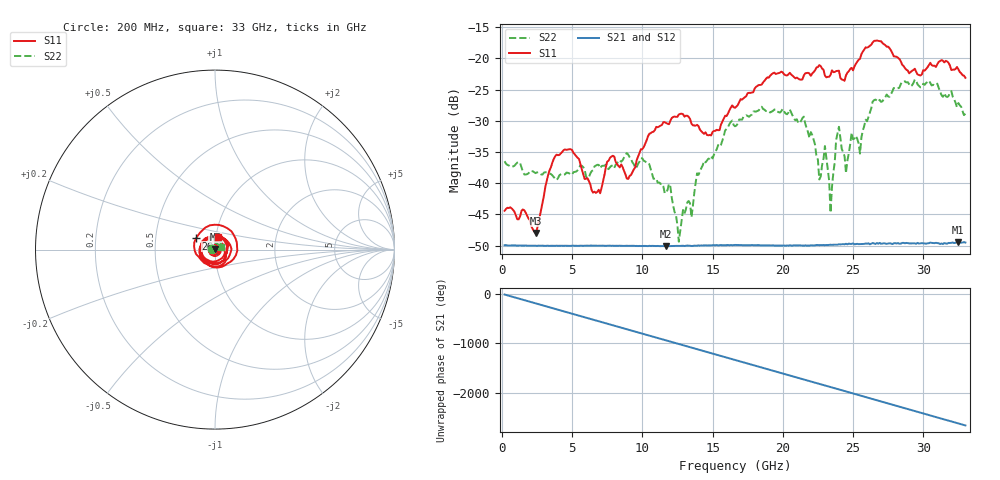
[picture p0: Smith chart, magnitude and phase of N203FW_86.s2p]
# GHZ S RI R 50
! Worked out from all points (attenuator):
!   329 points, 200 MHz to 33 GHz, reference 50 ohm
!   highest |S21| = -49.45 dB at 32.5 GHz (marker M1); lowest = -50.1 dB at 11.7 GHz (marker M2)
!   lowest |S11| = -48.0 dB at 2.4 GHz (marker M3), VSWR 1.01, Z = 50.2 + j0.322 ohm
!   |S11| at or under -10 dB: start of sweep to end of sweep
!   |S22| runs from -49.4 to -23.4 dB; largest |S21 - S12| = 8.8e-05
!   S11 on the Smith chart (normalised r, x): 200 MHz: 1.01, +0.00; 26 GHz: 0.80, +0.10; 33 GHz: 1.02, +0.14
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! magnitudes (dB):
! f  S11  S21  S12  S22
! 200 MHz  -44.4  -50.0  -49.9  -36.5
! 2.4 GHz  -48.0  -50.0  -50.0  -38.4
! 3.8 GHz  -35.7  -50.1  -50.0  -39.3
! 5.7 GHz  -37.8  -50.0  -50.0  -37.2
! 9 GHz  -39.3  -50.1  -50.0  -35.4
! 11.2 GHz  -30.9  -50.1  -50.1  -39.9
! 11.7 GHz  -30.4  -50.1  -50.1  -41.5
! 12.6 GHz  -29.0  -50.1  -50.0  -49.4
! 13.9 GHz  -30.7  -50.0  -50.0  -38.4
! 16.6 GHz  -27.9  -49.9  -49.9  -30.9
! 22.1 GHz  -22.4  -50.0  -50.0  -32.3
! 22.6 GHz  -21.1  -49.9  -49.9  -39.4
! 23 GHz  -22.7  -50.0  -49.9  -34.1
! 23.4 GHz  -22.7  -49.9  -49.9  -44.8
! 24 GHz  -22.0  -49.8  -49.8  -31.0
! 24.5 GHz  -22.7  -49.7  -49.7  -38.4
! 24.9 GHz  -21.5  -49.7  -49.7  -31.9
! 25.5 GHz  -20.1  -49.8  -49.7  -35.3
! 26 GHz  -18.3  -49.7  -49.7  -30.1
! 27.6 GHz  -18.4  -49.6  -49.6  -26.1
! 32.5 GHz  -21.7  -49.5  -49.4  -27.2
! 33 GHz  -23.1  -49.5  -49.6  -28.9
